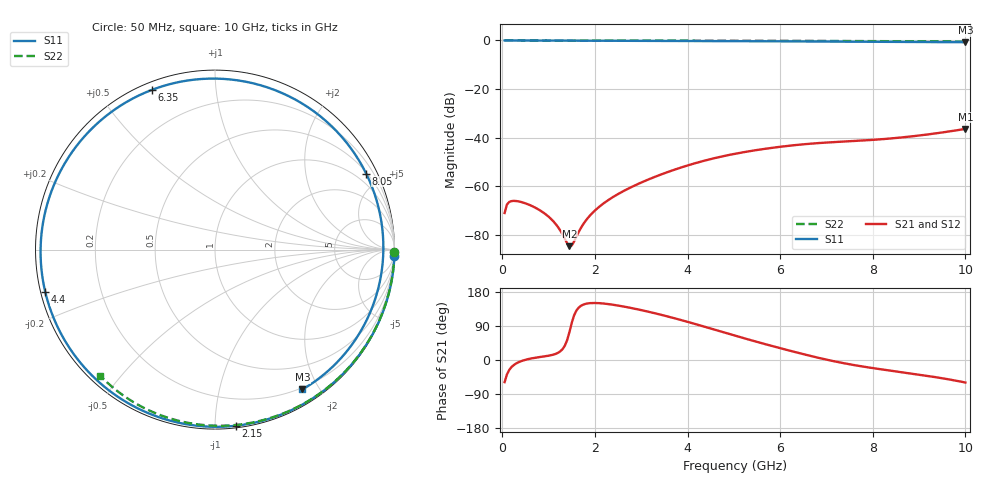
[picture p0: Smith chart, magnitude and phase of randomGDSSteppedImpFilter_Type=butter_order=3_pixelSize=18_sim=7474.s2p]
! freq	dB(S11)	phase(S11)	dB(S12)	phase(S12)
!  dB(S21)	phase(S21)	dB(S22)	phase(S22)
!S-par simulation data
#  GHz  S  DB  R 50
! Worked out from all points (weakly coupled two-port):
!   200 points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, 50 MHz to 10 GHz, reference 50 ohm
!   highest |S21| = -36.41 dB at 10 GHz (marker M1); lowest = -84.7 dB at 1.45 GHz (marker M2)
!   lowest |S11| = -0.7 dB at 10 GHz (marker M3), VSWR 23.67, Z = 8.94 - j89.6 ohm
!   |S11| at or under -10 dB: nowhere
!   |S22| runs from -0.4 to 0.0 dB; largest |S21 - S12| = 0
!   S11 on the Smith chart (normalised r, x): 50 MHz: 0, -57; 2.15 GHz: 0.01, -1.12; 4.4 GHz: 0.01, -0.12; 6.35 GHz: 0.03, +0.68; 8.05 GHz: 0.54, +4.15; 10 GHz: 0.18, -1.79
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0.05  -0.00 -2.0  -71.04 -58.4  -71.04 -58.4  -0.00 -0.8
0.1  -0.00 -4.0  -67.54 -38.1  -67.54 -38.1  -0.00 -1.5
0.15  -0.00 -6.0  -66.48 -26.1  -66.48 -26.1  -0.00 -2.3
0.5  -0.02 -20.0  -67.05 0.6  -67.05 0.6  -0.01 -7.6
1  -0.05 -39.6  -72.54 11.3  -72.54 11.3  -0.02 -15.2
1.3  -0.06 -51.2  -79.80 28.5  -79.80 28.5  -0.02 -19.7
1.45  -0.07 -56.9  -84.68 73.8  -84.68 73.8  -0.03 -21.9
1.6  -0.08 -62.6  -80.74 130.5  -80.74 130.5  -0.03 -24.1
1.75  -0.09 -68.3  -75.57 146.2  -75.57 146.2  -0.03 -26.4
2.15  -0.10 -83.3  -67.60 149.4  -67.60 149.4  -0.04 -32.2
2.75  -0.13 -105.3  -60.70 138.1  -60.70 138.1  -0.05 -41.0
3.4  -0.16 -129.0  -55.37 120.2  -55.37 120.2  -0.07 -50.2
4.4  -0.22 -166.0  -49.32 86.7  -49.32 86.7  -0.09 -64.0
5.05  -0.27 168.5  -46.56 63.4  -46.56 63.4  -0.11 -72.7
5.7  -0.33 141.2  -44.53 41.1  -44.53 41.1  -0.13 -81.1
6.35  -0.38 111.5  -43.02 20.1  -43.02 20.1  -0.16 -89.3
6.7  -0.41 94.6  -42.42 9.5  -42.42 9.5  -0.18 -93.6
7.35  -0.46 62.0  -41.65 -7.9  -41.65 -7.9  -0.22 -101.5
8.05  -0.51 26.7  -40.86 -22.3  -40.86 -22.3  -0.27 -109.9
8.35  -0.53 12.0  -40.41 -27.5  -40.41 -27.5  -0.29 -113.4
9.05  -0.60 -20.1  -39.02 -39.6  -39.02 -39.6  -0.35 -121.5
10  -0.73 -58.0  -36.41 -59.5  -36.41 -59.5  -0.45 -132.4
